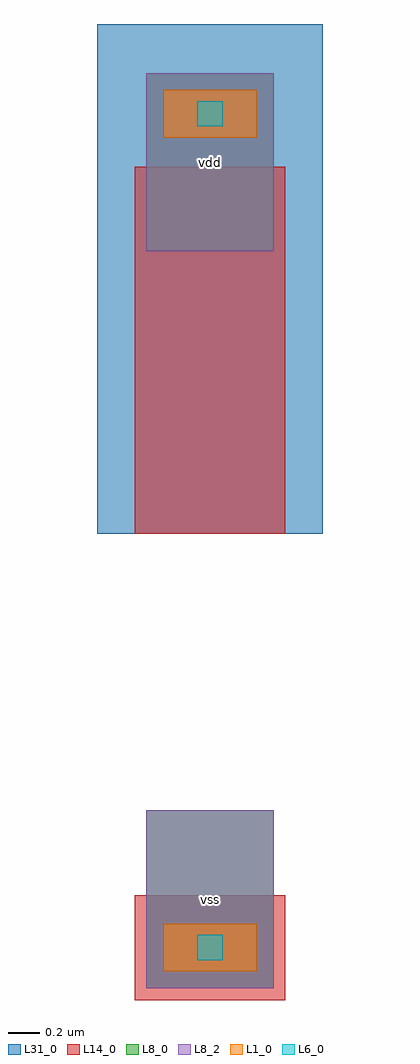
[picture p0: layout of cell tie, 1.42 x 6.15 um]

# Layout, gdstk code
import gdstk
lib = gdstk.Library(unit=1e-6, precision=1e-09)
def R(c, l, rs):  # rectangles x0, y0, x1, y1
    for r in rs: c.add(gdstk.rectangle(r[:2], r[2:], *l))
L1_0 = (1, 0)
L6_0 = (6, 0)
L8_0 = (8, 0)
L8_2 = (8, 2)
L14_0 = (14, 0)
L31_0 = (31, 0)

tie = lib.new_cell('tie')
R(tie, L1_0, [(0.105,0.105,0.695,0.405), (0.105,5.355,0.695,5.655)])
R(tie, L6_0, [(0.32,0.175,0.48,0.335), (0.32,5.425,0.48,5.585)])
R(tie, L8_0, [(0,0,0.8,1.12), (0,4.64,0.8,5.76)])
R(tie, L8_2, [(0,0,0.8,1.12), (0,4.64,0.8,5.76)])
R(tie, L14_0, [(-0.075,-0.075,0.875,0.585), (-0.075,2.86,0.875,5.17)])
R(tie, L31_0, [(-0.31,2.86,1.11,6.07)])
tie.add(gdstk.Label('vdd', (0.4,5.2), layer=8, texttype=2))
tie.add(gdstk.Label('vss', (0.4,0.56), layer=8, texttype=2))

lib.write_gds('tie.gds')
